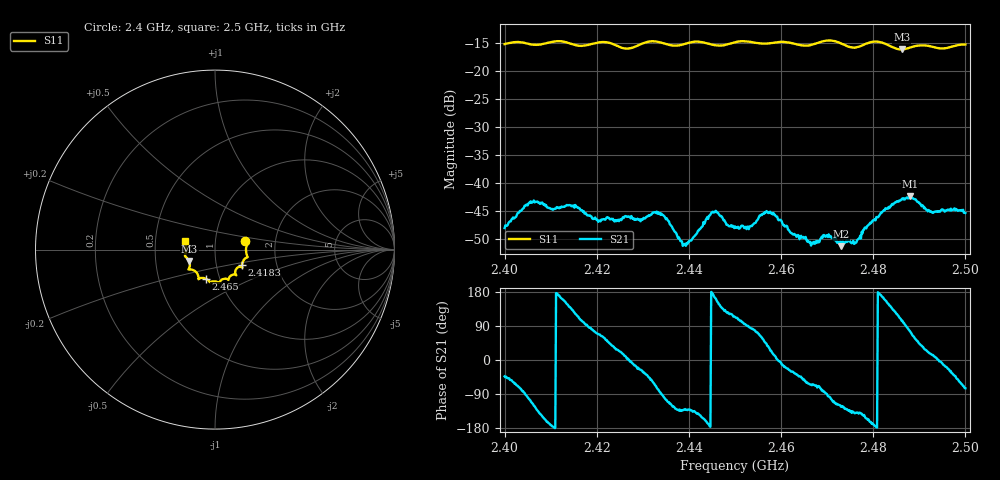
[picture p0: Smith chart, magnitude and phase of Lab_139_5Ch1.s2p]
# Hz S RI R 50
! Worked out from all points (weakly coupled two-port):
!   601 points, 2.4 GHz to 2.5 GHz, reference 50 ohm
!   highest |S21| = -42.38 dB at 2.488 GHz (marker M1); lowest = -51.3 dB at 2.473 GHz (marker M2)
!   lowest |S11| = -16.1 dB at 2.4862 GHz (marker M3), VSWR 1.37, Z = 37.2 - j4.8 ohm
!   |S11| at or under -10 dB: start of sweep to end of sweep
!   S12 and S22 are empty: the file has one direction only
!   S11 on the Smith chart (normalised r, x): 2.4 GHz: 1.40, +0.13; 2.4183 GHz: 1.33, -0.24; 2.465 GHz: 0.86, -0.29; 2.5 GHz: 0.71, +0.07
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2.4e9  0.1692 0.046  0.00288 -0.0027  0 0  0 0
2.405833e9  0.1736 0.0108  -0.00249 -0.00616  0 0  0 0
2.416667e9  0.1549 -0.0679  -0.00146 0.00553  0 0  0 0
2.418333e9  0.15 -0.0871  0.000398 0.00509  0 0  0 0
2.424333e9  0.1402 -0.0955  0.00411 0.00215  0 0  0 0
2.433333e9  0.1176 -0.1409  0.00118 -0.00535  0 0  0 0
2.439167e9  0.0775 -0.1583  -0.00181 -0.0022  0 0  0 0
2.445333e9  0.0592 -0.1619  -0.00536 0.000896  0 0  0 0
2.45e9  0.0255 -0.1809  -0.00165 0.00374  0 0  0 0
2.453e9  0.019 -0.1835  0.000155 0.00385  0 0  0 0
2.457167e9  -0.0115 -0.1774  0.00432 0.00323  0 0  0 0
2.465e9  -0.0523 -0.1619  0.00201 -0.00252  0 0  0 0
2.466667e9  -0.0713 -0.1574  0.00115 -0.00266  0 0  0 0
2.469833e9  -0.092 -0.1646  8.17e-05 -0.00339  0 0  0 0
2.473e9  -0.0914 -0.1529  -0.00149 -0.00227  0 0  0 0
2.476333e9  -0.114 -0.1178  -0.00223 -0.00191  0 0  0 0
2.480167e9  -0.1478 -0.111  -0.00458 -0.000718  0 0  0 0
2.483333e9  -0.1414 -0.0962  -0.00515 0.00328  0 0  0 0
2.486167e9  -0.1439 -0.063  -0.0017 0.00696  0 0  0 0
2.488e9  -0.1566 -0.0467  0.00191 0.00736  0 0  0 0
2.492833e9  -0.1645 -0.0214  0.00527 0.00123  0 0  0 0
2.5e9  -0.1673 0.0474  0.00142 -0.00519  0 0  0 0
